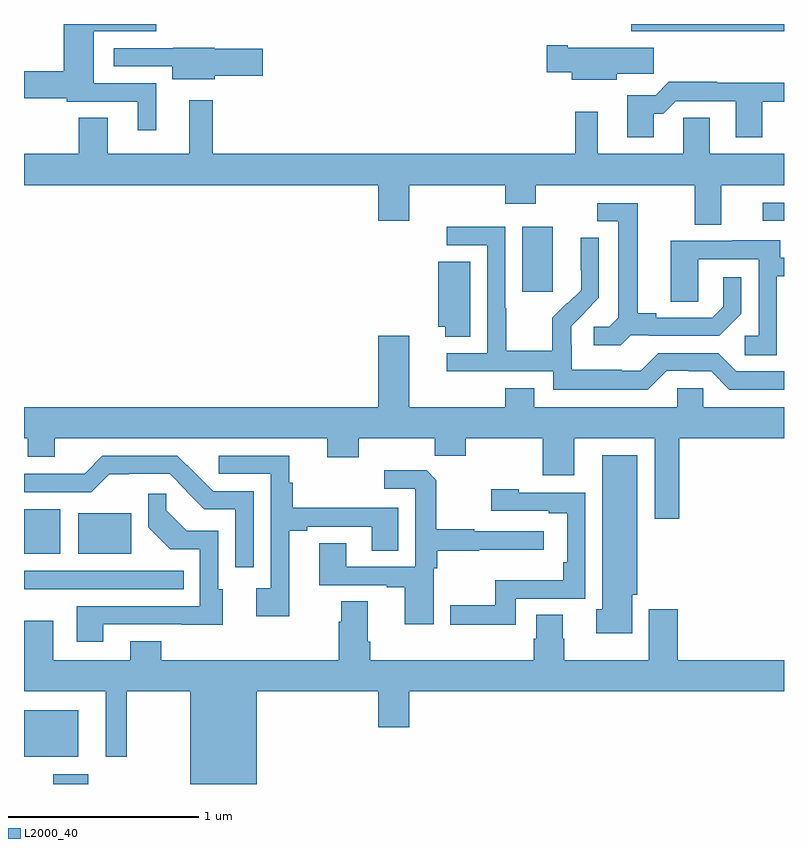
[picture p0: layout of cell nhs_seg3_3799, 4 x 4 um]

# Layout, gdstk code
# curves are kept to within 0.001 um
import gdstk
lib = gdstk.Library(unit=1e-6, precision=1e-09)
def R(c, l, rs):  # rectangles x0, y0, x1, y1
    for r in rs: c.add(gdstk.rectangle(r[:2], r[2:], *l))
def P(c, l, *ps):  # polygons
    for p in ps: c.add(gdstk.Polygon(p, *l))
L2000_40 = (2000, 40)

nhs_seg3_3799 = lib.new_cell('nhs_seg3_3799')
R(nhs_seg3_3799, L2000_40, [(307.155,728.4,307.339,728.452), (307,728.543,307.285,728.788), (307,729.611,307.192,729.847), (307.286,729.611,307.564,729.826), (309.623,730.992,309.784,731.332), (310.887,731.364,311,731.46), (310.196,732.362,311,732.4)])
P(nhs_seg3_3799, L2000_40, [(307.696,732.087),(307.366,732.087),(307.366,732.362),(307.696,732.362),(307.696,732.4),(307.208,732.4),(307.208,732.152),(307,732.152),(307,732.01),(307.224,732.01),(307.224,731.991),(307.598,731.991),(307.598,731.841),(307.696,731.841)],
  [(310.12,732.139),(310.315,732.139),(310.315,732.274),(309.862,732.274),(309.862,732.287),(309.75,732.287),(309.75,732.145),(309.884,732.145),(309.884,732.107),(310.12,732.107)],
  [(308.004,732.127),(308.257,732.127),(308.257,732.269),(308.004,732.269),(308.004,732.274),(307.785,732.274),(307.785,732.273),(307.473,732.273),(307.473,732.177),(307.781,732.177),(307.781,732.11),(308.004,732.11)],
  [(310.315,731.927),(310.364,731.927),(310.431,731.994),(310.745,731.994),(310.745,731.805),(310.885,731.805),(310.885,731.991),(311,731.991),(311,732.092),(310.649,732.092),(310.649,732.095),(310.394,732.095),(310.324,732.025),(310.175,732.025),(310.175,731.805),(310.315,731.805)],
  [(310.669,731.552),(311,731.552),(311,731.716),(310.609,731.716),(310.609,731.906),(310.47,731.906),(310.47,731.716),(310.021,731.716),(310.021,731.938),(309.9,731.938),(309.9,731.716),(307.993,731.716),(307.993,731.998),(307.871,731.998),(307.871,731.716),(307.441,731.716),(307.441,731.906),(307.289,731.906),(307.289,731.716),(307,731.716),(307,731.552),(308.864,731.552),(308.864,731.364),(309.028,731.364),(309.028,731.552),(309.533,731.552),(309.533,731.453),(309.693,731.453),(309.693,731.552),(310.529,731.552),(310.529,731.344),(310.669,731.344)],
  [(310.194,730.761),(310.288,730.761),(310.288,730.758),(310.66,730.758),(310.776,730.874),(310.776,731.068),(310.679,731.068),(310.679,730.911),(310.622,730.854),(310.327,730.854),(310.327,730.877),(310.231,730.877),(310.231,731.457),(310.017,731.457),(310.017,731.361),(310.127,731.361),(310.127,730.853),(310.08,730.806),(309.999,730.806),(309.999,730.709),(310.142,730.709)],
  [(310.383,730.575),(310.499,730.575),(310.499,730.572),(310.617,730.572),(310.713,730.476),(311,730.476),(311,730.572),(310.749,730.572),(310.653,730.668),(310.338,730.668),(310.245,730.575),(310.145,730.575),(310.145,730.579),(309.882,730.579),(309.882,730.713),(309.88,730.713),(309.88,730.81),(310.026,730.958),(310.026,731.276),(309.929,731.276),(309.929,731.104),(309.932,731.104),(309.932,731),(309.861,730.929),(309.858,730.932),(309.781,730.855),(309.781,730.681),(309.537,730.681),(309.537,730.904),(309.534,730.904),(309.534,731.334),(309.225,731.334),(309.225,731.235),(309.438,731.235),(309.438,730.668),(309.225,730.668),(309.225,730.572),(309.786,730.572),(309.786,730.475),(310.283,730.475)],
  [(310.962,731.073),(311,731.073),(311,731.169),(310.981,731.169),(310.981,731.263),(310.727,731.263),(310.727,731.259),(310.403,731.259),(310.403,730.939),(310.548,730.939),(310.548,731.163),(310.866,731.163),(310.866,730.758),(310.794,730.758),(310.794,730.657),(310.962,730.657)],
  [(309.349,731.15),(309.179,731.15),(309.179,730.806),(309.218,730.806),(309.218,730.753),(309.349,730.753)],
  [(310.448,730.22),(311,730.22),(311,730.384),(310.575,730.384),(310.575,730.482),(310.437,730.482),(310.437,730.384),(309.685,730.384),(309.685,730.483),(309.533,730.483),(309.533,730.384),(309.028,730.384),(309.028,730.759),(308.864,730.759),(308.864,730.384),(307,730.384),(307,730.22),(307.02,730.22),(307.02,730.122),(307.162,730.122),(307.162,730.22),(308.597,730.22),(308.597,730.121),(308.761,730.121),(308.761,730.22),(309.161,730.22),(309.161,730.127),(309.325,730.127),(309.325,730.22),(309.731,730.22),(309.731,730.026),(309.895,730.026),(309.895,730.22),(310.319,730.22),(310.319,729.795),(310.448,729.795)],
  [(310.201,729.396),(310.228,729.396),(310.228,730.129),(310.043,730.129),(310.043,729.32),(310.013,729.32),(310.013,729.194),(310.201,729.194)],
  [(308.395,729.733),(308.491,729.733),(308.491,729.753),(308.831,729.753),(308.831,729.628),(308.971,729.628),(308.971,729.854),(308.414,729.854),(308.414,729.986),(308.396,729.986),(308.396,730.128),(308.025,730.128),(308.025,730.032),(308.298,730.032),(308.298,729.43),(308.223,729.43),(308.223,729.282),(308.395,729.282)],
  [(308.208,729.942),(307.995,729.942),(307.807,730.128),(307.413,730.128),(307.319,730.034),(307.214,730.034),(307.214,730.032),(307,730.032),(307,729.936),(307.353,729.936),(307.448,730.031),(307.767,730.032),(307.857,729.942),(307.855,729.94),(307.949,729.846),(308.112,729.846),(308.112,729.54),(308.208,729.54)],
  [(309.156,729.536),(309.176,729.536),(309.176,729.628),(309.395,729.628),(309.395,729.632),(309.736,729.632),(309.736,729.729),(309.371,729.729),(309.371,729.742),(309.171,729.742),(309.171,729.999),(309.119,730.051),(308.895,730.051),(308.895,729.954),(309.06,729.954),(309.06,729.543),(308.695,729.543),(308.695,729.668),(308.555,729.668),(308.555,729.447),(308.909,729.447),(308.909,729.435),(309.005,729.435),(309.005,729.24),(309.156,729.24)],
  [(309.588,729.375),(309.954,729.375),(309.954,729.933),(309.603,729.933),(309.603,729.952),(309.459,729.952),(309.459,729.837),(309.761,729.837),(309.761,729.825),(309.858,729.825),(309.858,729.568),(309.838,729.568),(309.838,729.472),(309.48,729.472),(309.48,729.341),(309.243,729.341),(309.243,729.239),(309.588,729.239)],
  [(307.417,729.24),(308.047,729.239),(308.047,729.426),(308.022,729.426),(308.022,729.732),(307.856,729.732),(307.748,729.84),(307.748,729.928),(307.653,729.928),(307.653,729.752),(307.769,729.636),(307.926,729.636),(307.926,729.336),(307.277,729.336),(307.277,729.15),(307.417,729.15)],
  [(307.181,729.426),(307.841,729.426),(307.841,729.522),(307,729.522),(307,729.425),(307.181,729.425)],
  [(308.224,728.888),(308.864,728.888),(308.864,728.7),(309.028,728.7),(309.028,728.888),(311,728.888),(311,729.052),(310.442,729.052),(310.442,729.319),(310.289,729.319),(310.289,729.052),(309.843,729.052),(309.843,729.165),(309.835,729.165),(309.835,729.29),(309.695,729.29),(309.695,729.165),(309.683,729.165),(309.683,729.052),(308.822,729.052),(308.822,729.148),(308.809,729.148),(308.809,729.362),(308.669,729.362),(308.669,729.254),(308.657,729.254),(308.657,729.052),(307.723,729.052),(307.723,729.151),(307.559,729.151),(307.559,729.052),(307.153,729.052),(307.153,729.259),(307,729.259),(307,728.888),(307.43,728.888),(307.43,728.544),(307.54,728.544),(307.54,728.888),(307.874,728.888),(307.874,728.4),(308.224,728.4)])

lib.write_gds('nhs_seg3_3799.gds')
